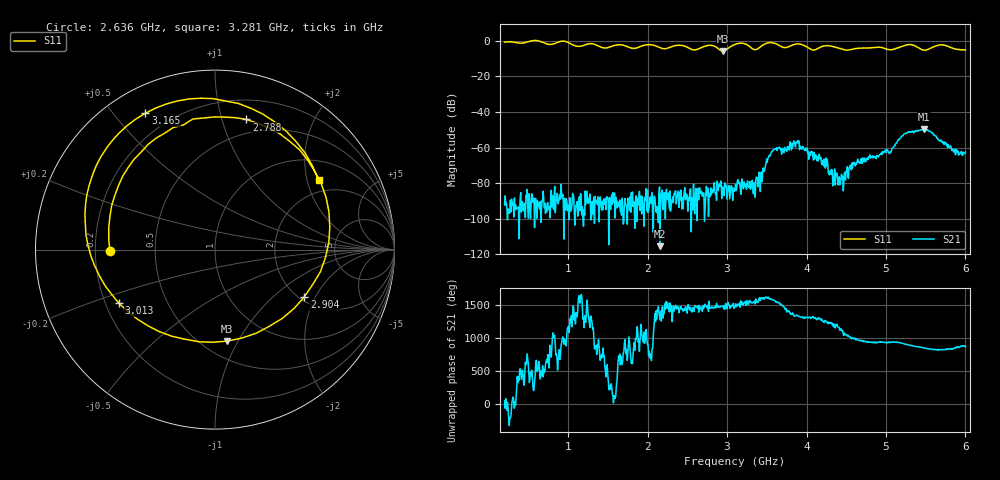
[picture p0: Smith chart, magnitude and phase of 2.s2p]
! NanoVNA-App
! Date: 2024-06-25 16:06:09
! Start: 200MHz Stop: 6GHz Points: 801
! S-Parameter data: F S11 S21 S12 S22
# Hz S RI R 50
!  Frequency  S11_Real  S11_Imag  S21_Real  S21_Imag  S12_Real  S12_Imag  S22_Real  S22_Imag
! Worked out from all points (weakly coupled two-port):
!   801 points, 200 MHz to 6 GHz, reference 50 ohm
!   highest |S21| = -49.61 dB at 5.478 GHz (marker M1); lowest = -115.4 dB at 2.158 GHz (marker M2)
!   lowest |S11| = -5.8 dB at 2.948 GHz (marker M3), VSWR 3.12, Z = 32.5 - j45.1 ohm
!   |S11| at or under -10 dB: nowhere
!   S12 and S22 are empty: the file has one direction only
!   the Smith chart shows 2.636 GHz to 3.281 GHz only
!   S11 on the Smith chart (normalised r, x): 2.636 GHz: 0.26, -0.01; 2.788 GHz: 0.37, +1.20; 2.904 GHz: 2.12, -1.64; 3.013 GHz: 0.26, -0.24; 3.165 GHz: 0.11, +0.61; 3.281 GHz: 1.58, +2.35
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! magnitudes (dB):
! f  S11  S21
! 200 MHz  -0.8  -92.3
! 1.171 GHz  -2.9  -97.9
! 2.136 GHz  -3.5  -102.2
! 2.158 GHz  -3.9  -115.4
! 2.636 GHz  -4.6  -84.8
! 2.788 GHz  -2.5  -87.5
! 2.904 GHz  -5.0  -81.7
! 2.948 GHz  -5.8  -82.1
! 3.013 GHz  -4.3  -83.5
! 3.1 GHz  -2.1  -84.0
! 3.165 GHz  -1.4  -82.1
! 3.281 GHz  -3.2  -82.6
! 3.419 GHz  -3.4  -84.7
! 3.593 GHz  -1.3  -61.0
! 3.876 GHz  -1.8  -57.2
! 4.072 GHz  -5.1  -62.3
! 4.441 GHz  -4.6  -75.0
! 4.615 GHz  -4.4  -70.4
! 5.036 GHz  -5.0  -62.9
! 5.253 GHz  -2.4  -52.0
! 5.478 GHz  -5.3  -49.6
! 6 GHz  -5.2  -62.5
